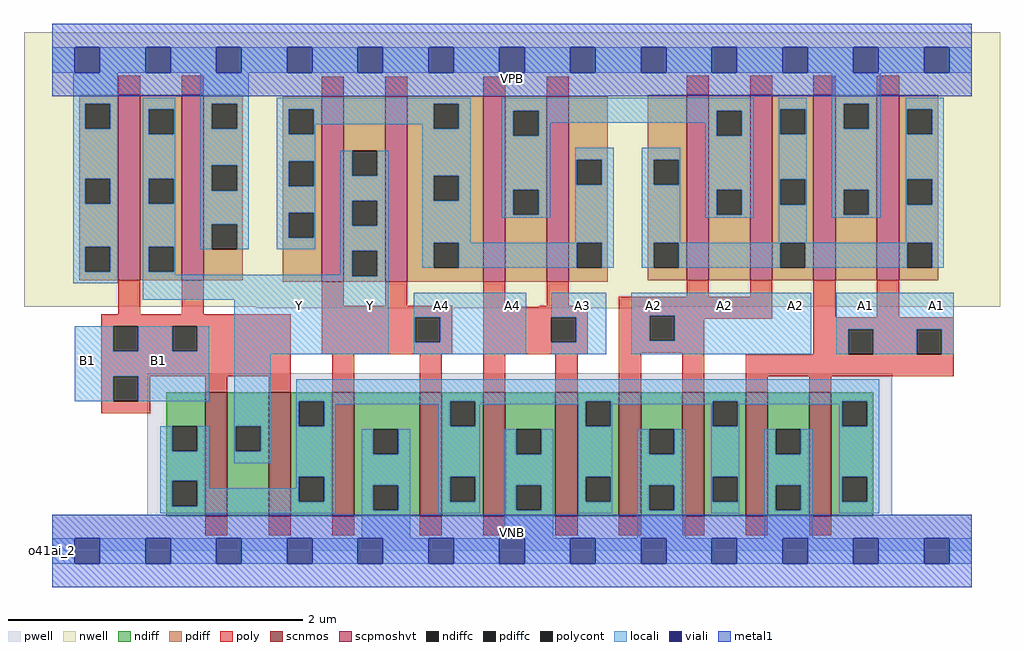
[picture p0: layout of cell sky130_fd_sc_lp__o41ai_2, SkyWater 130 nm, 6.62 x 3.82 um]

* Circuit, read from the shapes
.subckt sky130_fd_sc_lp__o41ai_2 A1 A2 A3 A4 B1 VGND VNB VPB VPWR Y
XM1 Y B1 n1 VNB sky130_fd_pr__nfet_01v8 w=0.84 l=0.15 m=2
XM2 VGND A4 n1 VNB sky130_fd_pr__nfet_01v8 w=0.84 l=0.15 m=2
XM3 VGND A3 n1 VNB sky130_fd_pr__nfet_01v8 w=0.84 l=0.15 m=2
XM4 VGND A2 n1 VNB sky130_fd_pr__nfet_01v8 w=0.84 l=0.15 m=2
XM5 VGND A1 n1 VNB sky130_fd_pr__nfet_01v8 w=0.84 l=0.15 m=2
XM6 Y B1 VPWR VPB sky130_fd_pr__pfet_01v8_hvt w=1.26 l=0.15 m=2
XM7 Y A4 n2 VPB sky130_fd_pr__pfet_01v8_hvt w=1.26 l=0.15 m=2
XM8 n3 A3 n2 VPB sky130_fd_pr__pfet_01v8_hvt w=1.26 l=0.15 m=2
XM9 n3 A2 n4 VPB sky130_fd_pr__pfet_01v8_hvt w=1.26 l=0.15 m=2
XM10 VPWR A1 n4 VPB sky130_fd_pr__pfet_01v8_hvt w=1.26 l=0.15 m=2
.ends

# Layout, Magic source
magic
tech sky130A
magscale 1 2
<< nwell >>
rect -38 331 1286 704
rect 277 329 790 331
<< pwell >>
rect 129 49 1140 241
rect 0 0 1248 49
<< scnmos >>
rect 208 47 238 215
rect 294 47 324 215
rect 380 47 410 215
rect 499 47 529 215
rect 585 47 615 215
rect 683 47 713 215
rect 769 47 799 215
rect 855 47 885 215
rect 941 47 971 215
rect 1027 47 1057 215
<< scpmoshvt >>
rect 90 367 120 619
rect 176 367 206 619
rect 366 365 396 617
rect 452 365 482 617
rect 585 365 615 617
rect 671 365 701 617
rect 861 367 891 619
rect 947 367 977 619
rect 1033 367 1063 619
rect 1119 367 1149 619
<< ndiff >>
rect 155 169 208 215
rect 155 135 163 169
rect 197 135 208 169
rect 155 95 208 135
rect 155 61 163 95
rect 197 61 208 95
rect 155 47 208 61
rect 238 169 294 215
rect 238 135 249 169
rect 283 135 294 169
rect 238 47 294 135
rect 324 203 380 215
rect 324 169 335 203
rect 369 169 380 203
rect 324 101 380 169
rect 324 67 335 101
rect 369 67 380 101
rect 324 47 380 67
rect 410 165 499 215
rect 410 131 436 165
rect 470 131 499 165
rect 410 89 499 131
rect 410 55 436 89
rect 470 55 499 89
rect 410 47 499 55
rect 529 203 585 215
rect 529 169 540 203
rect 574 169 585 203
rect 529 101 585 169
rect 529 67 540 101
rect 574 67 585 101
rect 529 47 585 67
rect 615 165 683 215
rect 615 131 630 165
rect 664 131 683 165
rect 615 89 683 131
rect 615 55 630 89
rect 664 55 683 89
rect 615 47 683 55
rect 713 203 769 215
rect 713 169 724 203
rect 758 169 769 203
rect 713 101 769 169
rect 713 67 724 101
rect 758 67 769 101
rect 713 47 769 67
rect 799 165 855 215
rect 799 131 810 165
rect 844 131 855 165
rect 799 89 855 131
rect 799 55 810 89
rect 844 55 855 89
rect 799 47 855 55
rect 885 203 941 215
rect 885 169 896 203
rect 930 169 941 203
rect 885 101 941 169
rect 885 67 896 101
rect 930 67 941 101
rect 885 47 941 67
rect 971 165 1027 215
rect 971 131 982 165
rect 1016 131 1027 165
rect 971 89 1027 131
rect 971 55 982 89
rect 1016 55 1027 89
rect 971 47 1027 55
rect 1057 203 1114 215
rect 1057 169 1072 203
rect 1106 169 1114 203
rect 1057 101 1114 169
rect 1057 67 1072 101
rect 1106 67 1114 101
rect 1057 47 1114 67
<< pdiff >>
rect 37 607 90 619
rect 37 573 45 607
rect 79 573 90 607
rect 37 505 90 573
rect 37 471 45 505
rect 79 471 90 505
rect 37 413 90 471
rect 37 379 45 413
rect 79 379 90 413
rect 37 367 90 379
rect 120 599 176 619
rect 120 565 131 599
rect 165 565 176 599
rect 120 505 176 565
rect 120 471 131 505
rect 165 471 176 505
rect 120 413 176 471
rect 120 379 131 413
rect 165 379 176 413
rect 120 367 176 379
rect 206 607 259 619
rect 206 573 217 607
rect 251 573 259 607
rect 206 523 259 573
rect 206 489 217 523
rect 251 489 259 523
rect 206 443 259 489
rect 206 409 217 443
rect 251 409 259 443
rect 206 367 259 409
rect 313 599 366 617
rect 313 565 321 599
rect 355 565 366 599
rect 313 529 366 565
rect 313 495 321 529
rect 355 495 366 529
rect 313 459 366 495
rect 313 425 321 459
rect 355 425 366 459
rect 313 365 366 425
rect 396 543 452 617
rect 396 509 407 543
rect 441 509 452 543
rect 396 475 452 509
rect 396 441 407 475
rect 441 441 452 475
rect 396 407 452 441
rect 396 373 407 407
rect 441 373 452 407
rect 396 365 452 373
rect 482 607 585 617
rect 482 573 518 607
rect 552 573 585 607
rect 482 509 585 573
rect 482 475 518 509
rect 552 475 585 509
rect 482 418 585 475
rect 482 384 518 418
rect 552 384 585 418
rect 482 365 585 384
rect 615 597 671 617
rect 615 563 626 597
rect 660 563 671 597
rect 615 490 671 563
rect 615 456 626 490
rect 660 456 671 490
rect 615 365 671 456
rect 701 531 754 617
rect 701 497 712 531
rect 746 497 754 531
rect 701 418 754 497
rect 701 384 712 418
rect 746 384 754 418
rect 701 365 754 384
rect 808 531 861 619
rect 808 497 816 531
rect 850 497 861 531
rect 808 418 861 497
rect 808 384 816 418
rect 850 384 861 418
rect 808 367 861 384
rect 891 597 947 619
rect 891 563 902 597
rect 936 563 947 597
rect 891 490 947 563
rect 891 456 902 490
rect 936 456 947 490
rect 891 367 947 456
rect 977 599 1033 619
rect 977 565 988 599
rect 1022 565 1033 599
rect 977 504 1033 565
rect 977 470 988 504
rect 1022 470 1033 504
rect 977 418 1033 470
rect 977 384 988 418
rect 1022 384 1033 418
rect 977 367 1033 384
rect 1063 607 1119 619
rect 1063 573 1074 607
rect 1108 573 1119 607
rect 1063 490 1119 573
rect 1063 456 1074 490
rect 1108 456 1119 490
rect 1063 367 1119 456
rect 1149 599 1202 619
rect 1149 565 1160 599
rect 1194 565 1202 599
rect 1149 504 1202 565
rect 1149 470 1160 504
rect 1194 470 1202 504
rect 1149 418 1202 470
rect 1149 384 1160 418
rect 1194 384 1202 418
rect 1149 367 1202 384
<< ndiffc >>
rect 163 135 197 169
rect 163 61 197 95
rect 249 135 283 169
rect 335 169 369 203
rect 335 67 369 101
rect 436 131 470 165
rect 436 55 470 89
rect 540 169 574 203
rect 540 67 574 101
rect 630 131 664 165
rect 630 55 664 89
rect 724 169 758 203
rect 724 67 758 101
rect 810 131 844 165
rect 810 55 844 89
rect 896 169 930 203
rect 896 67 930 101
rect 982 131 1016 165
rect 982 55 1016 89
rect 1072 169 1106 203
rect 1072 67 1106 101
<< pdiffc >>
rect 45 573 79 607
rect 45 471 79 505
rect 45 379 79 413
rect 131 565 165 599
rect 131 471 165 505
rect 131 379 165 413
rect 217 573 251 607
rect 217 489 251 523
rect 217 409 251 443
rect 321 565 355 599
rect 321 495 355 529
rect 321 425 355 459
rect 407 509 441 543
rect 407 441 441 475
rect 407 373 441 407
rect 518 573 552 607
rect 518 475 552 509
rect 518 384 552 418
rect 626 563 660 597
rect 626 456 660 490
rect 712 497 746 531
rect 712 384 746 418
rect 816 497 850 531
rect 816 384 850 418
rect 902 563 936 597
rect 902 456 936 490
rect 988 565 1022 599
rect 988 470 1022 504
rect 988 384 1022 418
rect 1074 573 1108 607
rect 1074 456 1108 490
rect 1160 565 1194 599
rect 1160 470 1194 504
rect 1160 384 1194 418
<< poly >>
rect 90 619 120 645
rect 176 619 206 645
rect 366 617 396 643
rect 452 617 482 643
rect 585 617 615 643
rect 671 617 701 643
rect 861 619 891 645
rect 947 619 977 645
rect 1033 619 1063 645
rect 1119 619 1149 645
rect 90 321 120 367
rect 176 321 206 367
rect 366 333 396 365
rect 452 333 482 365
rect 67 305 324 321
rect 67 271 83 305
rect 117 271 163 305
rect 197 271 324 305
rect 67 237 324 271
rect 366 317 543 333
rect 366 283 493 317
rect 527 283 543 317
rect 366 267 543 283
rect 585 331 615 365
rect 671 333 701 365
rect 861 345 891 367
rect 947 345 977 367
rect 661 331 727 333
rect 585 317 727 331
rect 585 283 677 317
rect 711 283 727 317
rect 585 267 727 283
rect 769 319 977 345
rect 769 285 811 319
rect 845 315 977 319
rect 1033 317 1063 367
rect 1119 317 1149 367
rect 845 285 885 315
rect 769 269 885 285
rect 67 203 83 237
rect 117 203 133 237
rect 208 215 238 237
rect 294 215 324 237
rect 380 215 410 267
rect 499 215 529 267
rect 585 215 615 267
rect 683 215 713 267
rect 769 215 799 269
rect 855 215 885 269
rect 1033 301 1223 317
rect 1033 267 1080 301
rect 1114 267 1173 301
rect 1207 267 1223 301
rect 941 237 1223 267
rect 941 215 971 237
rect 1027 215 1057 237
rect 67 187 133 203
rect 208 21 238 47
rect 294 21 324 47
rect 380 21 410 47
rect 499 21 529 47
rect 585 21 615 47
rect 683 21 713 47
rect 769 21 799 47
rect 855 21 885 47
rect 941 21 971 47
rect 1027 21 1057 47
<< polycont >>
rect 83 271 117 305
rect 163 271 197 305
rect 493 283 527 317
rect 677 283 711 317
rect 811 285 845 319
rect 83 203 117 237
rect 1080 267 1114 301
rect 1173 267 1207 301
<< locali >>
rect 0 649 31 683
rect 65 649 127 683
rect 161 649 223 683
rect 257 649 319 683
rect 353 649 415 683
rect 449 649 511 683
rect 545 649 607 683
rect 641 649 703 683
rect 737 649 799 683
rect 833 649 895 683
rect 929 649 991 683
rect 1025 649 1087 683
rect 1121 649 1183 683
rect 1217 649 1248 683
rect 29 607 89 649
rect 29 573 45 607
rect 79 573 89 607
rect 29 505 89 573
rect 29 471 45 505
rect 79 471 89 505
rect 29 413 89 471
rect 29 379 45 413
rect 79 379 89 413
rect 29 363 89 379
rect 123 599 167 615
rect 123 565 131 599
rect 165 565 167 599
rect 123 505 167 565
rect 123 471 131 505
rect 165 471 167 505
rect 123 413 167 471
rect 123 379 131 413
rect 165 379 167 413
rect 201 607 267 649
rect 201 573 217 607
rect 251 573 267 607
rect 201 523 267 573
rect 201 489 217 523
rect 251 489 267 523
rect 201 443 267 489
rect 201 409 217 443
rect 251 409 267 443
rect 305 607 568 615
rect 305 599 518 607
rect 305 565 321 599
rect 355 579 518 599
rect 355 565 357 579
rect 305 529 357 565
rect 502 573 518 579
rect 552 573 568 607
rect 305 495 321 529
rect 355 495 357 529
rect 305 459 357 495
rect 305 425 321 459
rect 355 425 357 459
rect 305 409 357 425
rect 391 509 407 543
rect 441 509 457 543
rect 391 475 457 509
rect 391 441 407 475
rect 441 441 457 475
rect 123 375 167 379
rect 391 407 457 441
rect 391 375 407 407
rect 123 373 407 375
rect 441 373 457 407
rect 502 509 568 573
rect 502 475 518 509
rect 552 475 568 509
rect 502 418 568 475
rect 610 597 952 615
rect 610 563 626 597
rect 660 581 902 597
rect 660 563 676 581
rect 610 490 676 563
rect 886 563 902 581
rect 936 563 952 597
rect 610 456 626 490
rect 660 456 676 490
rect 610 452 676 456
rect 710 531 762 547
rect 710 497 712 531
rect 746 497 762 531
rect 710 418 762 497
rect 502 384 518 418
rect 552 384 712 418
rect 746 384 762 418
rect 800 531 852 547
rect 800 497 816 531
rect 850 497 852 531
rect 800 418 852 497
rect 886 490 952 563
rect 886 456 902 490
rect 936 456 952 490
rect 886 452 952 456
rect 986 599 1024 615
rect 986 565 988 599
rect 1022 565 1024 599
rect 986 504 1024 565
rect 986 470 988 504
rect 1022 470 1024 504
rect 986 418 1024 470
rect 1058 607 1124 649
rect 1058 573 1074 607
rect 1108 573 1124 607
rect 1058 490 1124 573
rect 1058 456 1074 490
rect 1108 456 1124 490
rect 1058 452 1124 456
rect 1158 599 1210 615
rect 1158 565 1160 599
rect 1194 565 1210 599
rect 1158 504 1210 565
rect 1158 470 1160 504
rect 1194 470 1210 504
rect 1158 418 1210 470
rect 800 384 816 418
rect 850 384 988 418
rect 1022 384 1160 418
rect 1194 384 1210 418
rect 123 341 457 373
rect 31 271 83 305
rect 117 271 163 305
rect 197 271 213 305
rect 31 237 213 271
rect 31 203 83 237
rect 117 203 213 237
rect 247 267 457 341
rect 491 317 643 350
rect 491 283 493 317
rect 527 283 643 317
rect 491 267 643 283
rect 677 317 752 350
rect 711 283 752 317
rect 677 267 752 283
rect 786 319 1030 350
rect 786 285 811 319
rect 845 285 1030 319
rect 786 267 1030 285
rect 1064 301 1223 350
rect 1064 267 1080 301
rect 1114 267 1173 301
rect 1207 267 1223 301
rect 247 169 297 267
rect 147 135 163 169
rect 197 135 213 169
rect 147 95 213 135
rect 247 135 249 169
rect 283 135 297 169
rect 247 119 297 135
rect 331 203 1122 233
rect 331 169 335 203
rect 369 199 540 203
rect 369 169 385 199
rect 147 61 163 95
rect 197 85 213 95
rect 331 101 385 169
rect 524 169 540 199
rect 574 199 724 203
rect 574 169 580 199
rect 331 85 335 101
rect 197 67 335 85
rect 369 67 385 101
rect 197 61 385 67
rect 147 51 385 61
rect 420 131 436 165
rect 470 131 486 165
rect 420 89 486 131
rect 420 55 436 89
rect 470 55 486 89
rect 420 17 486 55
rect 524 101 580 169
rect 714 169 724 199
rect 758 199 896 203
rect 758 169 760 199
rect 524 67 540 101
rect 574 67 580 101
rect 524 51 580 67
rect 614 131 630 165
rect 664 131 680 165
rect 614 89 680 131
rect 614 55 630 89
rect 664 55 680 89
rect 614 17 680 55
rect 714 101 760 169
rect 894 169 896 199
rect 930 199 1072 203
rect 930 169 932 199
rect 714 67 724 101
rect 758 67 760 101
rect 714 51 760 67
rect 794 131 810 165
rect 844 131 860 165
rect 794 89 860 131
rect 794 55 810 89
rect 844 55 860 89
rect 794 17 860 55
rect 894 101 932 169
rect 1068 169 1072 199
rect 1106 169 1122 203
rect 894 67 896 101
rect 930 67 932 101
rect 894 51 932 67
rect 966 131 982 165
rect 1016 131 1032 165
rect 966 89 1032 131
rect 966 55 982 89
rect 1016 55 1032 89
rect 966 17 1032 55
rect 1068 101 1122 169
rect 1068 67 1072 101
rect 1106 67 1122 101
rect 1068 51 1122 67
rect 0 -17 31 17
rect 65 -17 127 17
rect 161 -17 223 17
rect 257 -17 319 17
rect 353 -17 415 17
rect 449 -17 511 17
rect 545 -17 607 17
rect 641 -17 703 17
rect 737 -17 799 17
rect 833 -17 895 17
rect 929 -17 991 17
rect 1025 -17 1087 17
rect 1121 -17 1183 17
rect 1217 -17 1248 17
<< viali >>
rect 31 649 65 683
rect 127 649 161 683
rect 223 649 257 683
rect 319 649 353 683
rect 415 649 449 683
rect 511 649 545 683
rect 607 649 641 683
rect 703 649 737 683
rect 799 649 833 683
rect 895 649 929 683
rect 991 649 1025 683
rect 1087 649 1121 683
rect 1183 649 1217 683
rect 31 -17 65 17
rect 127 -17 161 17
rect 223 -17 257 17
rect 319 -17 353 17
rect 415 -17 449 17
rect 511 -17 545 17
rect 607 -17 641 17
rect 703 -17 737 17
rect 799 -17 833 17
rect 895 -17 929 17
rect 991 -17 1025 17
rect 1087 -17 1121 17
rect 1183 -17 1217 17
<< metal1 >>
rect 0 683 1248 715
rect 0 649 31 683
rect 65 649 127 683
rect 161 649 223 683
rect 257 649 319 683
rect 353 649 415 683
rect 449 649 511 683
rect 545 649 607 683
rect 641 649 703 683
rect 737 649 799 683
rect 833 649 895 683
rect 929 649 991 683
rect 1025 649 1087 683
rect 1121 649 1183 683
rect 1217 649 1248 683
rect 0 617 1248 649
rect 0 17 1248 49
rect 0 -17 31 17
rect 65 -17 127 17
rect 161 -17 223 17
rect 257 -17 319 17
rect 353 -17 415 17
rect 449 -17 511 17
rect 545 -17 607 17
rect 641 -17 703 17
rect 737 -17 799 17
rect 833 -17 895 17
rect 929 -17 991 17
rect 1025 -17 1087 17
rect 1121 -17 1183 17
rect 1217 -17 1248 17
rect 0 -49 1248 -17
<< labels >>
flabel pwell s 0 0 1248 49 0 FreeSans 200 0 0 0 VNB
port 7 nsew ground bidirectional
flabel nwell s 0 617 1248 666 0 FreeSans 200 0 0 0 VPB
port 8 nsew power bidirectional
rlabel comment s 0 0 0 0 4 o41ai_2
flabel metal1 s 0 617 1248 666 0 FreeSans 340 0 0 0 VPWR
port 9 nsew power bidirectional
flabel metal1 s 0 0 1248 49 0 FreeSans 340 0 0 0 VGND
port 6 nsew ground bidirectional
flabel locali s 1183 316 1217 350 0 FreeSans 340 0 0 0 A1
port 1 nsew signal input
flabel locali s 799 316 833 350 0 FreeSans 340 0 0 0 A2
port 2 nsew signal input
flabel locali s 895 316 929 350 0 FreeSans 340 0 0 0 A2
port 2 nsew signal input
flabel locali s 991 316 1025 350 0 FreeSans 340 0 0 0 A2
port 2 nsew signal input
flabel locali s 703 316 737 350 0 FreeSans 340 0 0 0 A3
port 3 nsew signal input
flabel locali s 511 316 545 350 0 FreeSans 340 0 0 0 A4
port 4 nsew signal input
flabel locali s 607 316 641 350 0 FreeSans 340 0 0 0 A4
port 4 nsew signal input
flabel locali s 31 242 65 276 0 FreeSans 340 0 0 0 B1
port 5 nsew signal input
flabel locali s 127 242 161 276 0 FreeSans 340 0 0 0 B1
port 5 nsew signal input
flabel locali s 319 316 353 350 0 FreeSans 340 0 0 0 Y
port 10 nsew signal output
flabel locali s 415 316 449 350 0 FreeSans 340 0 0 0 Y
port 10 nsew signal output
flabel locali s 1087 316 1121 350 0 FreeSans 340 0 0 0 A1
port 1 nsew signal input
<< properties >>
string LEFsite unit
string LEFclass CORE
string FIXED_BBOX 0 0 1248 666
string GDS_FILE $PDKPATH/libs.ref/sky130_fd_sc_lp/gds/sky130_fd_sc_lp.gds
string LEFsymmetry X Y R90
string GDS_END 6594652
string GDS_START 6583510
<< end >>
